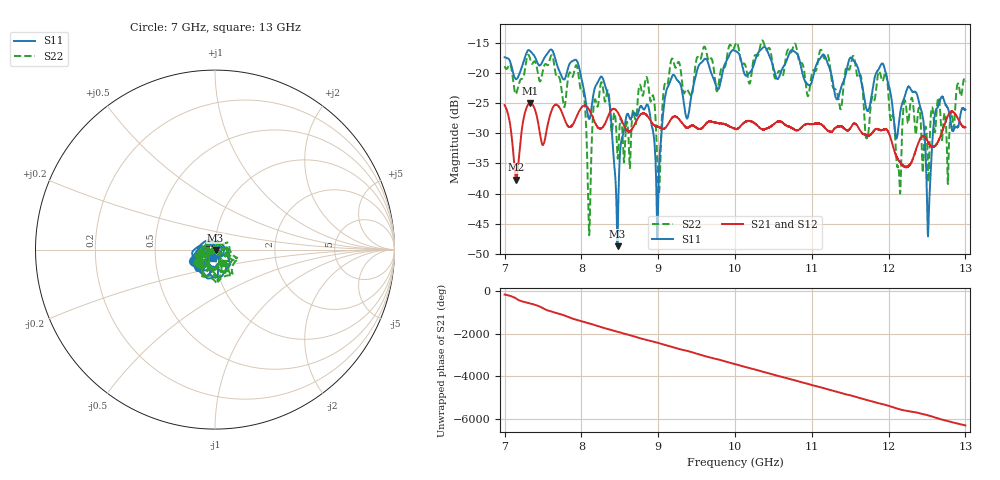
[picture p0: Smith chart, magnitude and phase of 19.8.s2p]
[Version] 2.0
! Rohde & Schwarz Vector Network Analyzer
! Rohde-Schwarz,ZNL20-2Port,1323001220200009,1.71.1.10-23.02.1.238
! Port Assignments:
! Nominal Port -> Actual Test Port
!  1 -> 1
!  2 -> 2
! Created: GMT+3 2024-09-24 15:17:05
# Hz S DB R 50
[Number of Ports] 2
[Two-Port Data Order] 21_12
! freq[Hz]  S11[mag dB]  S11[ang]  S21[mag dB]  S21[ang]  S12[mag dB]  S12[ang]  S22[mag dB]  S22[ang]
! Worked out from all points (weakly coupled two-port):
!   6001 points, 7 GHz to 13 GHz, reference 50 ohm
!   highest |S21| = -24.99 dB at 7.332 GHz (marker M1); lowest = -37.7 dB at 7.149 GHz (marker M2)
!   lowest |S11| = -48.7 dB at 8.47 GHz (marker M3), VSWR 1.01, Z = 50.3 - j0.237 ohm
!   |S11| at or under -10 dB: start of sweep to end of sweep
!   |S22| runs from -46.9 to -14.6 dB; largest |S21 - S12| = 0.0008
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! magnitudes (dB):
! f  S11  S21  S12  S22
! 7 GHz  -17.3  -25.3  -25.3  -18.8
! 7.149 GHz  -21.0  -37.7  -37.7  -23.5
! 7.332 GHz  -16.3  -25.0  -25.0  -17.6
! 8 GHz  -20.9  -25.7  -25.7  -22.8
! 8.1 GHz  -27.6  -26.0  -26.0  -46.7
! 8.256 GHz  -20.6  -29.2  -29.2  -21.6
! 8.47 GHz  -48.7  -26.5  -26.4  -34.0
! 8.58 GHz  -27.5  -29.3  -29.3  -29.1
! 8.778 GHz  -25.4  -26.8  -26.8  -22.6
! 8.937 GHz  -29.9  -28.5  -28.5  -23.8
! 9 GHz  -40.4  -28.9  -28.9  -38.6
! 9.177 GHz  -20.6  -27.5  -27.5  -17.6
! 10 GHz  -16.3  -29.2  -29.2  -15.4
! 11 GHz  -21.5  -28.5  -28.4  -20.2
! 12 GHz  -22.0  -29.8  -29.9  -23.9
! 12.13 GHz  -28.4  -34.6  -34.6  -36.1
! 12.21 GHz  -24.0  -35.5  -35.5  -24.5
! 12.38 GHz  -23.8  -32.0  -32.0  -27.3
! 12.52 GHz  -44.7  -31.6  -31.6  -37.8
! 12.63 GHz  -25.8  -31.6  -31.6  -25.1
! 12.78 GHz  -26.0  -27.0  -27.0  -37.4
! 13 GHz  -26.0  -29.0  -28.9  -21.4
